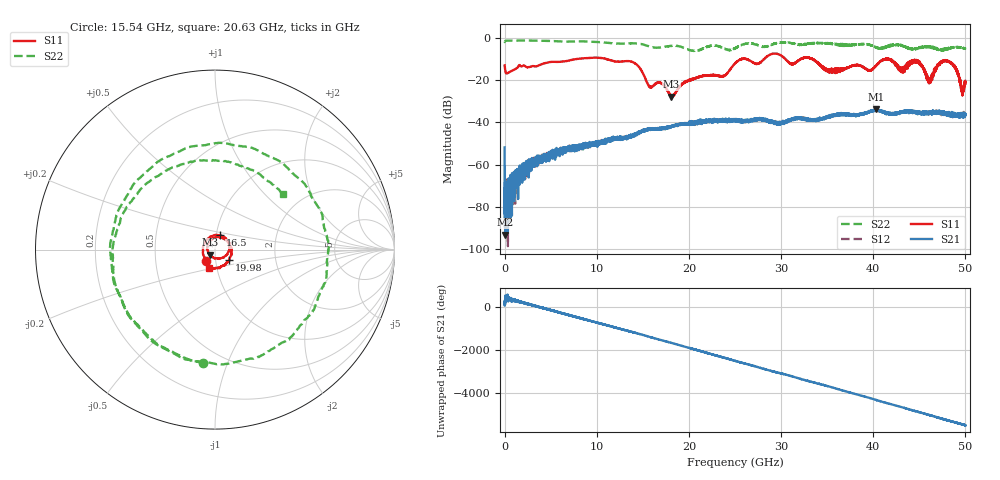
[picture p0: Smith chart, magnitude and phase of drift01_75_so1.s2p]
!Created with skrf (http://scikit-rf.org).
# Hz S RI R 50.0
!freq ReS11 ImS11 ReS21 ImS21 ReS12 ImS12 ReS22 ImS22
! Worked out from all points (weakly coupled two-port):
!   10001 points, 300 kHz to 50 GHz, reference 50 ohm
!   highest |S21| = -33.94 dB at 40.35 GHz (marker M1); lowest = -93.2 dB at 95.3 MHz (marker M2)
!   lowest |S11| = -28.0 dB at 18.09 GHz (marker M3), VSWR 1.08, Z = 47.1 - j2.62 ohm
!   |S11| at or under -10 dB: start of sweep to 8.031 GHz; 10.92 GHz to 25.74 GHz (14.82 GHz wide, 80.8 % of centre); 41.69 GHz to end of sweep (the widest 3 of 21)
!   |S22| runs from -6.4 to -1.3 dB; largest |S21 - S12| = 0.0052
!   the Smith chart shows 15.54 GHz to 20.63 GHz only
!   S11 on the Smith chart (normalised r, x): 15.54 GHz: 0.90, -0.11; 16.5 GHz: 1.04, +0.17; 19.98 GHz: 1.17, -0.13; 20.63 GHz: 0.91, -0.19
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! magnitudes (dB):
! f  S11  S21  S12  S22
! 300 kHz  -13.2  -51.9  -68.3  -2.0
! 95.3 MHz  -16.2  -93.2  -77.1  -1.5
! 260.3 MHz  -16.9  -73.5  -81.8  -1.4
! 3.035 GHz  -13.5  -58.1  -58.7  -1.4
! 8.335 GHz  -9.9  -51.2  -51.1  -1.8
! 13.86 GHz  -11.5  -46.4  -46.2  -2.7
! 15.54 GHz  -21.8  -43.0  -43.1  -4.0
! 16.5 GHz  -21.5  -43.1  -43.0  -4.8
! 16.67 GHz  -21.2  -42.8  -43.0  -4.8
! 18.09 GHz  -28.0  -42.1  -42.0  -4.0
! 19.98 GHz  -20.2  -40.6  -40.6  -5.8
! 20.63 GHz  -19.4  -40.3  -40.8  -6.3
! 25 GHz  -12.2  -39.3  -39.2  -5.0
! 33.34 GHz  -10.0  -38.7  -38.8  -2.7
! 35.34 GHz  -15.6  -36.6  -37.3  -2.8
! 40.35 GHz  -12.9  -33.9  -34.5  -4.6
! 41.67 GHz  -10.0  -36.1  -35.8  -4.1
! 43.03 GHz  -15.6  -35.3  -35.2  -3.7
! 44.82 GHz  -11.4  -35.9  -35.5  -5.0
! 46.11 GHz  -20.6  -35.1  -35.2  -4.3
! 48.04 GHz  -11.1  -35.9  -36.0  -5.3
! 50 GHz  -20.9  -36.4  -36.0  -5.2
